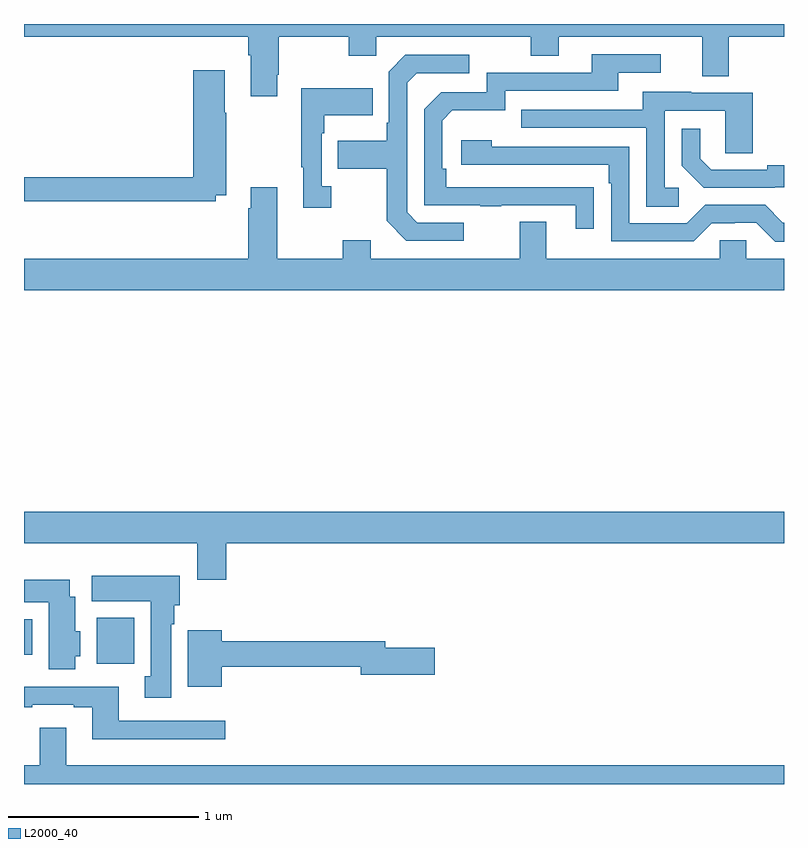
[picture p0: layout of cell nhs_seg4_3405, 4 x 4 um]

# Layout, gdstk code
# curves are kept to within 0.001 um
import gdstk
lib = gdstk.Library(unit=1e-6, precision=1e-09)
def R(c, l, rs):  # rectangles x0, y0, x1, y1
    for r in rs: c.add(gdstk.rectangle(r[:2], r[2:], *l))
def P(c, l, *ps):  # polygons
    for p in ps: c.add(gdstk.Polygon(p, *l))
L2000_40 = (2000, 40)

nhs_seg4_3405 = lib.new_cell('nhs_seg4_3405')
R(nhs_seg4_3405, L2000_40, [(291.383,781.532,291.58,781.774), (291,781.58,291.043,781.768)])
P(nhs_seg4_3405, L2000_40, [(292.333,784.633),(292.341,784.633),(292.341,784.832),(292.708,784.832),(292.708,784.733),(292.854,784.733),(292.854,784.832),(293.668,784.832),(293.668,784.733),(293.815,784.733),(293.815,784.832),(294.569,784.832),(294.569,784.624),(294.709,784.624),(294.709,784.832),(295,784.832),(295,784.9),(291,784.9),(291,784.832),(292.181,784.832),(292.181,784.736),(292.193,784.736),(292.193,784.521),(292.333,784.521)],
  [(293.999,784.04),(293.222,784.041),(293.222,784.138),(293.202,784.138),(293.202,784.392),(293.255,784.445),(293.532,784.445),(293.532,784.548),(294.127,784.548),(294.127,784.644),(294.352,784.644),(294.352,784.74),(293.987,784.74),(293.987,784.644),(293.436,784.644),(293.436,784.542),(293.196,784.542),(293.106,784.452),(293.106,783.945),(293.401,783.945),(293.401,783.94),(293.513,783.94),(293.513,783.945),(293.903,783.945),(293.903,783.822),(293.999,783.822)],
  [(293.314,783.855),(293.07,783.855),(293.016,783.909),(293.016,784.59),(293.067,784.641),(293.344,784.641),(293.344,784.737),(293.007,784.737),(292.92,784.65),(292.92,784.381),(292.908,784.381),(292.908,784.285),(292.651,784.285),(292.651,784.138),(292.908,784.138),(292.908,783.865),(293.013,783.759),(293.314,783.759)],
  [(292.008,783.998),(292.065,783.998),(292.065,784.433),(292.057,784.433),(292.057,784.657),(291.89,784.657),(291.89,784.094),(291,784.094),(291,783.966),(292.008,783.966)],
  [(292.618,784.046),(292.566,784.046),(292.566,784.325),(292.579,784.325),(292.579,784.421),(292.835,784.421),(292.835,784.561),(292.458,784.561),(292.458,784.145),(292.469,784.145),(292.469,783.933),(292.618,783.933)],
  [(294.445,784.038),(294.372,784.038),(294.372,784.443),(294.69,784.443),(294.69,784.219),(294.835,784.219),(294.835,784.539),(294.511,784.539),(294.511,784.543),(294.257,784.543),(294.257,784.449),(293.617,784.449),(293.617,784.353),(294.276,784.353),(294.276,783.937),(294.445,783.937)],
  [(294.95,784.041),(295,784.041),(295,784.157),(294.911,784.157),(294.911,784.134),(294.616,784.134),(294.559,784.191),(294.559,784.348),(294.462,784.348),(294.462,784.154),(294.578,784.038),(294.95,784.038)],
  [(295,783.855),(294.993,783.855),(294.9,783.948),(294.585,783.948),(294.489,783.852),(294.186,783.852),(294.186,784.254),(293.462,784.254),(293.462,784.288),(293.301,784.288),(293.301,784.158),(294.077,784.158),(294.077,784.061),(294.09,784.061),(294.09,783.756),(294.525,783.756),(294.621,783.852),(294.74,783.852),(294.74,783.855),(294.855,783.855),(294.955,783.755),(295,783.755)],
  [(295,783.664),(294.801,783.664),(294.801,783.762),(294.663,783.762),(294.663,783.664),(293.749,783.664),(293.749,783.859),(293.609,783.859),(293.609,783.664),(292.825,783.664),(292.825,783.763),(292.678,783.763),(292.678,783.664),(292.333,783.664),(292.333,784.042),(292.193,784.042),(292.193,783.929),(292.181,783.929),(292.181,783.664),(291,783.664),(291,783.5),(295,783.5)],
  [(292.064,782.168),(295,782.168),(295,782.332),(291,782.332),(291,782.168),(291.911,782.168),(291.911,781.974),(292.064,781.974)],
  [(291.775,781.742),(291.79,781.742),(291.79,781.842),(291.82,781.842),(291.82,781.996),(291.356,781.996),(291.356,781.862),(291.668,781.862),(291.668,781.466),(291.635,781.466),(291.635,781.353),(291.775,781.353)],
  [(291.271,781.572),(291.295,781.572),(291.295,781.704),(291.271,781.704),(291.271,781.885),(291.241,781.885),(291.241,781.975),(291,781.975),(291,781.856),(291.131,781.856),(291.131,781.505),(291.271,781.505)],
  [(292.042,781.516),(292.772,781.516),(292.772,781.474),(293.161,781.474),(293.161,781.616),(292.9,781.616),(292.9,781.652),(292.042,781.652),(292.042,781.708),(291.863,781.708),(291.863,781.412),(292.042,781.412)],
  [(292.06,781.233),(291.499,781.233),(291.499,781.413),(291,781.413),(291,781.305),(291.043,781.305),(291.043,781.317),(291.263,781.317),(291.263,781.305),(291.359,781.305),(291.359,781.136),(292.06,781.136)],
  [(295,781),(291.223,781),(291.223,781.195),(291.083,781.195),(291.083,781),(291,781),(291,780.9),(295,780.9)])

lib.write_gds('nhs_seg4_3405.gds')
